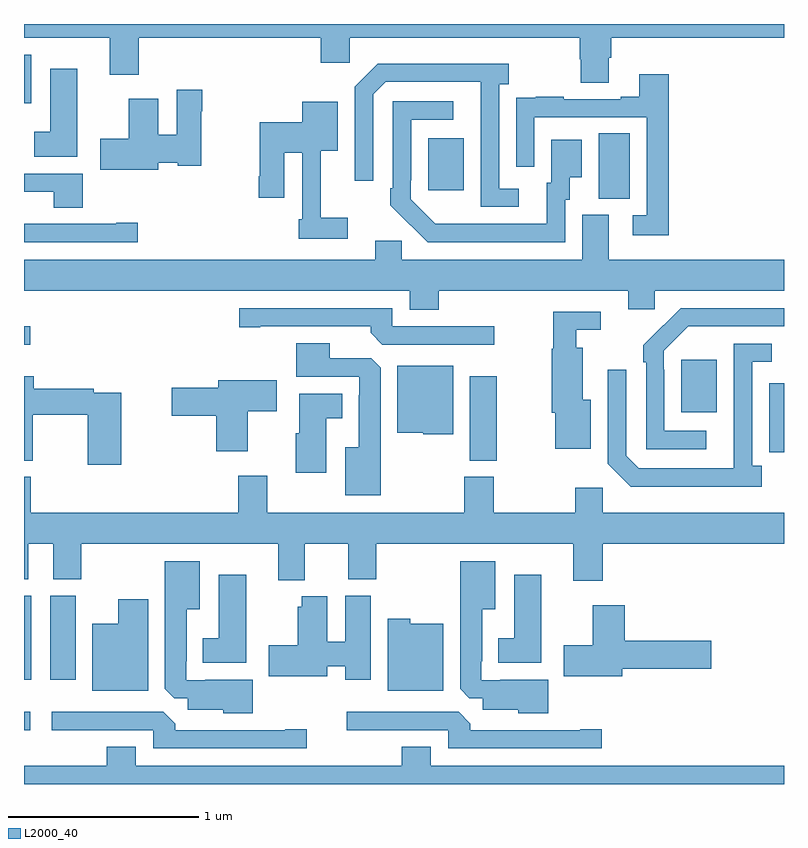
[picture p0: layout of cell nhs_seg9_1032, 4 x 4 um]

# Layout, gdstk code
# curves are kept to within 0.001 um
import gdstk
lib = gdstk.Library(unit=1e-6, precision=1e-09)
def R(c, l, rs):  # rectangles x0, y0, x1, y1
    for r in rs: c.add(gdstk.rectangle(r[:2], r[2:], *l))
def P(c, l, *ps):  # polygons
    for p in ps: c.add(gdstk.Polygon(p, *l))
L2000_40 = (2000, 40)

nhs_seg9_1032 = lib.new_cell('nhs_seg9_1032')
R(nhs_seg9_1032, L2000_40, [(167,1184.784,167.032,1184.88), (167,1185.048,167.038,1185.492), (167.138,1185.048,167.272,1185.492), (169.346,1186.201,169.488,1186.645), (170.459,1186.457,170.647,1186.732), (167,1186.812,167.032,1186.908), (170.024,1187.581,170.188,1187.924), (169.127,1187.625,169.315,1187.899), (167,1188.083,167.038,1188.337)])
P(nhs_seg9_1032, L2000_40, [(167,1188.428),(167.45,1188.428),(167.45,1188.234),(167.603,1188.234),(167.603,1188.428),(168.563,1188.428),(168.563,1188.297),(168.714,1188.297),(168.714,1188.428),(169.925,1188.428),(169.925,1188.315),(169.93,1188.315),(169.93,1188.19),(170.077,1188.19),(170.077,1188.322),(170.09,1188.322),(170.09,1188.428),(171,1188.428),(171,1188.5),(167,1188.5)],
  [(169.603,1187.634),(169.5,1187.634),(169.5,1188.182),(169.552,1188.182),(169.552,1188.292),(168.862,1188.292),(168.741,1188.171),(168.741,1187.676),(168.837,1187.676),(168.837,1188.129),(168.903,1188.195),(169.403,1188.195),(169.404,1187.538),(169.603,1187.538)],
  [(167.281,1188.265),(167.138,1188.265),(167.138,1187.932),(167.054,1187.932),(167.054,1187.801),(167.281,1187.801)],
  [(170.393,1188.235),(170.237,1188.235),(170.237,1188.118),(170.141,1188.118),(170.141,1188.105),(169.841,1188.105),(169.841,1188.118),(169.693,1188.118),(169.693,1188.111),(169.591,1188.111),(169.591,1188.002),(169.59,1188.002),(169.59,1187.748),(169.686,1187.748),(169.686,1188.009),(170.277,1188.009),(170.277,1187.493),(170.205,1187.493),(170.205,1187.388),(170.393,1187.388)],
  [(167.707,1187.771),(167.808,1187.771),(167.808,1187.753),(167.934,1187.753),(167.934,1188.041),(167.939,1188.041),(167.939,1188.154),(167.804,1188.154),(167.804,1187.918),(167.707,1187.918),(167.707,1188.106),(167.552,1188.106),(167.552,1187.895),(167.4,1187.895),(167.4,1187.732),(167.707,1187.732)],
  [(169.848,1187.574),(169.873,1187.574),(169.873,1187.693),(169.936,1187.693),(169.936,1187.89),(169.775,1187.89),(169.775,1187.664),(169.751,1187.664),(169.751,1187.448),(169.164,1187.449),(169.035,1187.577),(169.035,1187.677),(169.038,1187.677),(169.038,1187.997),(169.258,1187.997),(169.258,1188.093),(168.942,1188.093),(168.942,1187.635),(168.927,1187.635),(168.927,1187.547),(169.124,1187.352),(169.848,1187.352)],
  [(168.703,1187.479),(168.563,1187.479),(168.563,1187.834),(168.652,1187.834),(168.652,1188.091),(168.464,1188.091),(168.464,1187.982),(168.241,1187.982),(168.241,1187.698),(168.236,1187.698),(168.236,1187.586),(168.37,1187.586),(168.37,1187.822),(168.465,1187.822),(168.465,1187.473),(168.445,1187.473),(168.445,1187.37),(168.703,1187.37)],
  [(167.309,1187.712),(167,1187.712),(167,1187.616),(167.156,1187.616),(167.156,1187.533),(167.309,1187.533)],
  [(169.184,1187.096),(170.18,1187.096),(170.18,1186.998),(170.319,1186.998),(170.319,1187.096),(171,1187.096),(171,1187.26),(170.077,1187.26),(170.077,1187.496),(169.937,1187.496),(169.937,1187.26),(168.987,1187.26),(168.987,1187.358),(168.848,1187.358),(168.848,1187.26),(167,1187.26),(167,1187.096),(169.031,1187.096),(169.031,1186.997),(169.184,1186.997)],
  [(167.599,1187.453),(167.486,1187.453),(167.486,1187.448),(167,1187.448),(167,1187.352),(167.599,1187.352)],
  [(170.59,1186.359),(170.37,1186.359),(170.37,1186.679),(170.367,1186.679),(170.367,1186.779),(170.496,1186.908),(171,1186.908),(171,1187.004),(170.456,1187.004),(170.259,1186.809),(170.259,1186.721),(170.274,1186.721),(170.274,1186.263),(170.59,1186.263)],
  [(169.474,1186.908),(168.939,1186.908),(168.939,1187.004),(168.132,1187.004),(168.132,1186.903),(168.244,1186.903),(168.244,1186.908),(168.824,1186.908),(168.824,1186.874),(168.885,1186.812),(169.474,1186.812)],
  [(169.984,1186.522),(169.942,1186.522),(169.942,1186.795),(169.906,1186.795),(169.906,1186.89),(170.035,1186.89),(170.035,1186.986),(169.785,1186.986),(169.785,1186.791),(169.777,1186.791),(169.777,1186.455),(169.796,1186.455),(169.796,1186.265),(169.984,1186.265)],
  [(168.877,1186.691),(168.828,1186.74),(168.61,1186.74),(168.61,1186.819),(168.434,1186.819),(168.434,1186.644),(168.765,1186.644),(168.765,1186.547),(168.761,1186.547),(168.761,1186.273),(168.692,1186.273),(168.692,1186.019),(168.877,1186.019)],
  [(170.884,1186.174),(170.832,1186.174),(170.832,1186.722),(170.935,1186.722),(170.935,1186.818),(170.736,1186.818),(170.735,1186.161),(170.235,1186.161),(170.169,1186.227),(170.169,1186.681),(170.073,1186.681),(170.073,1186.185),(170.194,1186.064),(170.884,1186.064)],
  [(169.258,1186.702),(168.965,1186.702),(168.965,1186.349),(169.101,1186.349),(169.101,1186.34),(169.258,1186.34)],
  [(167.513,1186.56),(167.366,1186.56),(167.366,1186.58),(167.051,1186.58),(167.051,1186.645),(167,1186.645),(167,1186.201),(167.046,1186.201),(167.046,1186.444),(167.335,1186.444),(167.335,1186.179),(167.513,1186.179)],
  [(168.178,1186.462),(168.331,1186.462),(168.331,1186.624),(168.023,1186.624),(168.023,1186.586),(167.778,1186.586),(167.778,1186.439),(168.011,1186.439),(168.011,1186.251),(168.178,1186.251)],
  [(171,1186.609),(170.922,1186.609),(170.922,1186.354),(170.923,1186.354),(170.923,1186.245),(171,1186.245)],
  [(168.592,1186.424),(168.676,1186.424),(168.676,1186.555),(168.449,1186.555),(168.449,1186.347),(168.431,1186.347),(168.431,1186.137),(168.592,1186.137)],
  [(170.045,1185.764),(171,1185.764),(171,1185.928),(170.046,1185.928),(170.046,1186.06),(169.9,1186.06),(169.9,1185.928),(169.473,1185.928),(169.473,1186.116),(169.318,1186.116),(169.318,1185.928),(168.28,1185.928),(168.28,1186.123),(168.128,1186.123),(168.128,1185.928),(167.036,1185.928),(167.036,1186.116),(167,1186.116),(167,1185.577),(167.023,1185.577),(167.023,1185.764),(167.153,1185.764),(167.153,1185.577),(167.301,1185.577),(167.301,1185.764),(168.338,1185.764),(168.338,1185.572),(168.478,1185.572),(168.478,1185.764),(168.707,1185.764),(168.707,1185.577),(168.855,1185.577),(168.855,1185.764),(169.892,1185.764),(169.892,1185.57),(170.045,1185.57)],
  [(168.205,1185.049),(167.953,1185.049),(167.953,1185.045),(167.853,1185.045),(167.853,1185.145),(167.857,1185.145),(167.857,1185.419),(167.926,1185.419),(167.926,1185.673),(167.741,1185.673),(167.741,1185.001),(167.79,1184.952),(167.861,1184.952),(167.861,1184.891),(168.048,1184.891),(168.048,1184.873),(168.205,1184.873)],
  [(169.759,1185.049),(169.507,1185.049),(169.507,1185.045),(169.407,1185.045),(169.407,1185.145),(169.411,1185.145),(169.411,1185.419),(169.48,1185.419),(169.48,1185.673),(169.295,1185.673),(169.295,1185.001),(169.344,1184.952),(169.415,1184.952),(169.415,1184.891),(169.602,1184.891),(169.602,1184.873),(169.759,1184.873)],
  [(168.169,1185.601),(168.026,1185.601),(168.026,1185.268),(167.942,1185.268),(167.942,1185.137),(168.169,1185.137)],
  [(169.723,1185.601),(169.58,1185.601),(169.58,1185.268),(169.496,1185.268),(169.496,1185.137),(169.723,1185.137)],
  [(168.826,1185.492),(168.692,1185.492),(168.692,1185.249),(168.595,1185.249),(168.595,1185.487),(168.463,1185.487),(168.463,1185.433),(168.44,1185.433),(168.44,1185.231),(168.288,1185.231),(168.288,1185.068),(168.595,1185.068),(168.595,1185.119),(168.692,1185.119),(168.692,1185.048),(168.826,1185.048)],
  [(167.653,1185.472),(167.495,1185.472),(167.495,1185.343),(167.36,1185.343),(167.36,1184.99),(167.653,1184.99)],
  [(170.149,1185.107),(170.617,1185.107),(170.617,1185.254),(170.162,1185.254),(170.162,1185.442),(169.994,1185.442),(169.994,1185.231),(169.842,1185.231),(169.842,1185.068),(170.149,1185.068)],
  [(169.207,1185.343),(169.032,1185.343),(169.032,1185.37),(168.914,1185.37),(168.914,1184.99),(169.207,1184.99)],
  [(170.041,1184.789),(169.928,1184.789),(169.928,1184.784),(169.349,1184.784),(169.349,1184.818),(169.287,1184.88),(168.699,1184.88),(168.699,1184.784),(169.233,1184.784),(169.233,1184.688),(170.041,1184.688)],
  [(168.487,1184.789),(168.374,1184.789),(168.374,1184.784),(167.795,1184.784),(167.795,1184.818),(167.733,1184.88),(167.145,1184.88),(167.145,1184.784),(167.679,1184.784),(167.679,1184.688),(168.487,1184.688)],
  [(171,1184.596),(169.141,1184.596),(169.141,1184.695),(168.989,1184.695),(168.989,1184.596),(167.587,1184.596),(167.587,1184.695),(167.435,1184.695),(167.435,1184.596),(167,1184.596),(167,1184.5),(171,1184.5)])

lib.write_gds('nhs_seg9_1032.gds')
